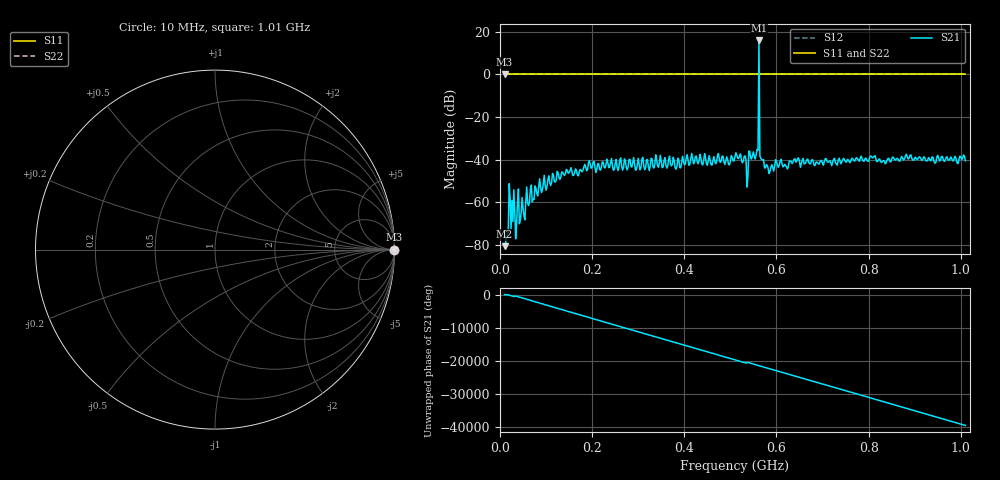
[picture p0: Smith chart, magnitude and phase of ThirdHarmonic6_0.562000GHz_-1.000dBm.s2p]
! 8/15/2025 5:57:08 PM
! C:\ANRITSUVNA\TEMP\TEMP.S2P
! CHANNEL.1
! TR.MEASUREMENT
! RAW.DATA
! RF.CORRECTION.OFF
! AVERAGING.OFF
! IF.BANDWIDTH: 5KHZ
! SWEEPTYPE:  FREQ.SWEEP(Linear)
! Reference Plane Port Info
! PORT:  PORT1  PORT2
! DISTANCE:  0  m  0  m
! TIME:  0  s  0  s
! PHASE.OFFSET:  0  deg.  0  deg.
! LOSS:  0  dB  0  dB
! REF.LOSS:  0  dB  0  dB
! REF.FREQ:  0  Hz  0  Hz
! Power Info
! POWER:  -20  dBm  -20  dBm
! EFF.POWER:  -20  dBm  -20  dBm
! SOURCE.ATTEN:  0  dB  0  dB
! TEST.ATTEN:  0  dB  0  dB
# GHZ S RI R 50.0
! FREQ.GHZ  S11RE  S11IM  S21RE  S21IM  S12RE  S12IM  S22RE  S22IM
!; PortSelection: Port_12
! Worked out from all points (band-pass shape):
!   501 points, 10 MHz to 1.01 GHz, reference 50 ohm
!   highest |S21| = 15.84 dB at 562 MHz (marker M1); lowest = -80.5 dB at 10 MHz (marker M2)
!   |S21| within 3 dB of the highest: 561.8835 MHz to 562.111 MHz (227.4 kHz wide, 0.0405 % of centre)
!   lowest |S11| = 0.0 dB at 10 MHz (marker M3)
!   |S11| at or under -10 dB: nowhere
!   |S22| runs from 0.0 to 0.0 dB; largest |S21 - S12| = 7.2
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0.01  1 0  9.41e-05 3.5e-06  1 0  1 0
0.014  1 0  -0.000135 -8.66e-05  1 0  1 0
0.018  1 0  0.000169 -0.000167  1 0  1 0
0.024  1 0  0.00024 7.3e-06  1 0  1 0
0.038  1 0  -0.000732 0.000592  1 0  1 0
0.082  1 0  -0.000755 0.0012  1 0  1 0
0.178  1 0  -0.00519 -0.00025  1 0  1 0
0.344  1 0  0.00553 -0.0037  1 0  1 0
0.51  1 0  -0.00957 0.00726  1 0  1 0
0.53  1 0  0.00771 0.00908  1 0  1 0
0.534  1 0  -0.00555 -0.00813  1 0  1 0
0.544  1 0  -0.0109 -0.00141  1 0  1 0
0.556  1 0  0.00426 0.0127  1 0  1 0
0.558  1 0  0.0169 -0.00425  1 0  1 0
0.562  1 0  -6.054 1.299  1 0  1 0
0.566  1 0  0.0107 -0.00162  1 0  1 0
0.568  1 0  0.00129 -0.00979  1 0  1 0
0.584  1 0  0.00457 0.00111  1 0  1 0
0.644  1 0  -0.00688 0.00627  1 0  1 0
0.678  1 0  -0.00876 -0.00501  1 0  1 0
0.844  1 0  0.0105 0.00237  1 0  1 0
1.01  1 0  -0.00861 0.00376  1 0  1 0
